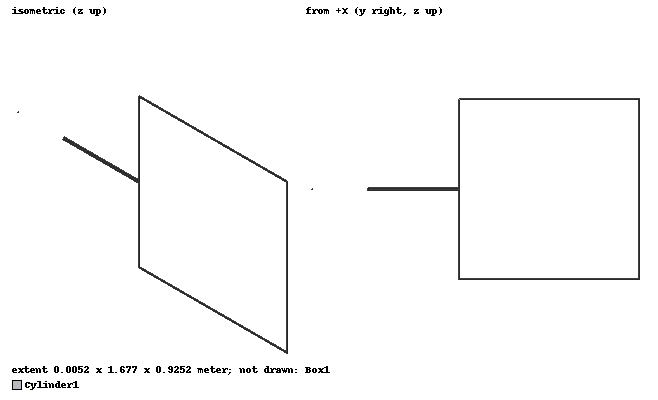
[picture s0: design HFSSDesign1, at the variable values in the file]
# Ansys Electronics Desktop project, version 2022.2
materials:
  vacuum: permittivity=1
  pec: conductivity=1e+30
  air: permittivity=1.0006 permeability=1.0000004

design HFSSDesign1 (HFSS, DrivenModal, model units meter)
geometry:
  Box1 [air] = box(corner=(-1.3meter, -0.9meter, -1.4meter), size=(2.5meter, 2.5meter, 2.5meter))
  Rectangle1 [pec] = rectangle(corner=(0meter, -0.754meter, 0.002meter), y_size=0.005meter, z_size=-0.004meter)
  Cylinder1 [pec] = cylinder(axis=Z, base_centre=(0meter, 0meter, 0.005meter), radius=0.0026meter, height=0.455meter)
  Cylinder1_1 = Cylinder1.duplicate_around_axis(axis=Y, angle=180deg, total=2)
  Cylinder2 = cylinder(axis=Z, base_centre=(0meter, 0.92meter, 0.46meter), radius=0.0026meter, height=-0.92meter)
  Cylinder3 = cylinder(axis=Y, base_centre=(0meter, 0.92meter, 0.46meter), radius=0.0026meter, height=-0.92meter)
  Cylinder4 = cylinder(axis=Y, base_centre=(0meter, 0.92meter, -0.46meter), radius=0.0026meter, height=-0.92meter)
  Cylinder5 = cylinder(axis=Y, base_centre=(0meter, 0meter, -0.005meter), radius=0.0026meter, height=-0.47meter)
  Cylinder6 = cylinder(axis=Y, base_centre=(0meter, 0meter, 0.005meter), radius=0.0026meter, height=-0.47meter)
  Sphere1 = sphere(centre=(0meter, 0meter, 0.005meter), radius=0.0026meter)
  Sphere2 = sphere(centre=(0meter, 0meter, -0.005meter), radius=0.0026meter)
  Sphere3 = sphere(centre=(0meter, 0.92meter, 0.46meter), radius=0.0026meter)
  Sphere4 = sphere(centre=(0meter, 0.92meter, -0.46meter), radius=0.0026meter)
  Sphere5 = sphere(centre=(0meter, 0meter, 0.46meter), radius=0.0026meter)
  Sphere6 = sphere(centre=(0meter, 0meter, -0.46meter), radius=0.0026meter)
  Cylinder1.unite(Cylinder1_1, Cylinder2..Cylinder6, Sphere1..Sphere6)
  Rectangle2 [pec] = rectangle(corner=(0meter, -0.47meter, 0.0025meter), y_size=0.006meter, z_size=-0.005meter)
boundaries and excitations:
  Rad1: Radiation Objects=Box1
  1: Lumped Port Objects=Rectangle2 Modes{Mode1{IntLine{(0, -0.467, -0.0025) -> (0, -0.467, 0.0025)} CharImp=Zpi RenormImp=50ohm}} Impedance=50ohm
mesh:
  initial mesh: GlobalSurfApproximation{CurvedSurfaceApproxChoice=UseSlider SliderMeshSettings=1}
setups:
  Setup1: HfssDriven Frequency=135MHz MaxDeltaS=0.02 MaximumPasses=15 MinimumPasses=1 MinimumConvergedPasses=1 PercentRefinement=30 BasisOrder=1 PortAccuracy=2 DrivenSolverType="Direct Solver"
    sweep Sweep: 67.5MHz to 202.5MHz step 1MHz; Type=Fast SaveFields
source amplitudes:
  1:1: 1W 0deg
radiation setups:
  Infinite Sphere1: Infinite Sphere Theta=0deg..360deg step 10 Phi=0deg..180deg step 10deg
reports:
  S Parameter Plot 1: dB(S(1,1)) vs Freq on Setup1 : Sweep
